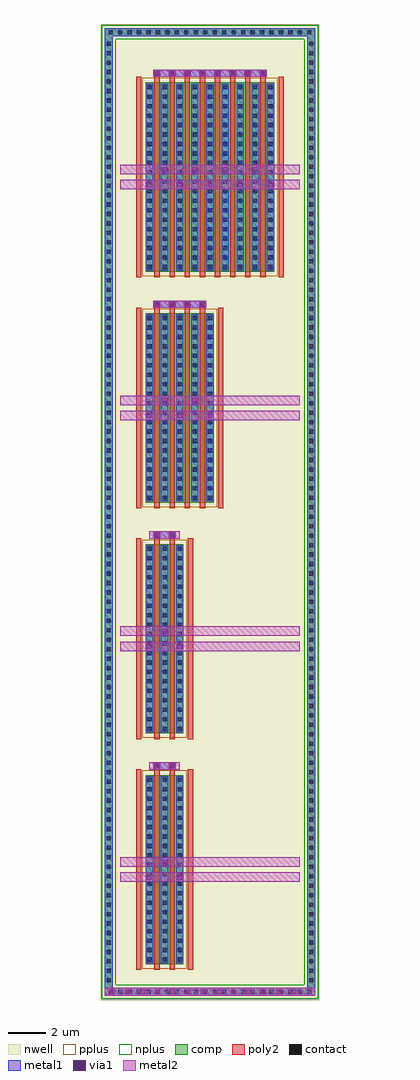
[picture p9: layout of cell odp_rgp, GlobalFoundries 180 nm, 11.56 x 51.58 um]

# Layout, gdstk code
import gdstk
lib = gdstk.Library(unit=1e-6, precision=1e-09)
def R(c, l, rs):  # rectangles x0, y0, x1, y1
    for r in rs: c.add(gdstk.rectangle(r[:2], r[2:], *l))
def A(c, l, x, y, w, h, nx, ny, dx, dy):  # array of equal rectangles
    R(c, l, [(x+i*dx, y+j*dy, x+i*dx+w, y+j*dy+h) for i in range(nx) for j in range(ny)])
nwell = (21, 0)
comp = (22, 0)
poly2 = (30, 0)
pplus = (31, 0)
nplus = (32, 0)
contact = (33, 0)
metal1 = (34, 0)
via1 = (35, 0)
metal2 = (36, 0)

odp_rgp = lib.new_cell('odp_rgp')
R(odp_rgp, nwell, [(-0.22,-0.22,11.34,51.36)])
R(odp_rgp, comp, [(0,0,11.12,0.42), (0,0,0.42,51.14), (10.7,0,11.12,51.14), (2.17,1.67,4.15,11.67), (2.17,13.87,4.15,23.87), (2.17,26.07,5.75,36.07), (2.17,38.27,8.95,48.27), (0,50.72,11.12,51.14)])
A(odp_rgp, poly2, 1.65, 1.37, 0.28, 10.6, 1, 4, 0, 12.2)
A(odp_rgp, poly2, 2.62, 25.77, 0.28, 10.96, 4, 1, 0.8, 0)
A(odp_rgp, poly2, 2.58, 36.37, 0.36, 0.36, 4, 1, 0.8, 0)
A(odp_rgp, poly2, 2.62, 37.97, 0.28, 10.96, 8, 1, 0.8, 0)
A(odp_rgp, poly2, 2.58, 48.57, 0.36, 0.36, 8, 1, 0.8, 0)
R(odp_rgp, poly2, [(2.62,1.37,2.9,12.33), (3.42,1.37,3.7,12.33), (4.39,1.37,4.67,11.97), (2.58,11.97,2.94,12.33), (3.38,11.97,3.74,12.33), (2.62,13.57,2.9,24.53), (3.42,13.57,3.7,24.53), (4.39,13.57,4.67,24.17), (2.58,24.17,2.94,24.53), (3.38,24.17,3.74,24.53), (5.99,25.77,6.27,36.37), (9.19,37.97,9.47,48.57)])
R(odp_rgp, pplus, [(1.99,1.43,4.33,11.91), (1.99,13.63,4.33,24.11), (1.99,25.83,5.93,36.31), (1.99,38.03,9.13,48.51)])
R(odp_rgp, nplus, [(-0.16,-0.16,11.28,0.58), (-0.16,-0.16,0.58,51.3), (10.54,-0.16,11.28,51.3), (-0.16,50.56,11.28,51.3)])
A(odp_rgp, contact, 0.2, 0.1, 0.22, 0.22, 22, 2, 0.5, 50.72)
A(odp_rgp, contact, 0.1, 0.71, 0.22, 0.22, 1, 100, 0, 0.5)
A(odp_rgp, contact, 10.8, 0.71, 0.22, 0.22, 1, 100, 0, 0.5)
A(odp_rgp, contact, 2.25, 1.81, 0.22, 0.22, 3, 20, 0.8, 0.5)
A(odp_rgp, contact, 2.25, 14.01, 0.22, 0.22, 3, 20, 0.8, 0.5)
A(odp_rgp, contact, 2.25, 26.21, 0.22, 0.22, 5, 20, 0.8, 0.5)
A(odp_rgp, contact, 2.65, 36.44, 0.22, 0.22, 4, 1, 0.8, 0)
A(odp_rgp, contact, 2.25, 38.41, 0.22, 0.22, 9, 20, 0.8, 0.5)
A(odp_rgp, contact, 2.65, 48.64, 0.22, 0.22, 8, 1, 0.8, 0)
R(odp_rgp, contact, [(2.65,12.04,2.87,12.26), (3.45,12.04,3.67,12.26), (2.65,24.24,2.87,24.46), (3.45,24.24,3.67,24.46)])
A(odp_rgp, metal1, 2.17, 1.73, 0.38, 9.88, 3, 2, 0.8, 12.2)
A(odp_rgp, metal1, 2.17, 26.13, 0.38, 9.88, 5, 1, 0.8, 0)
A(odp_rgp, metal1, 2.17, 38.33, 0.38, 9.88, 9, 1, 0.8, 0)
R(odp_rgp, metal1, [(0,0,11.12,0.42), (0,0,0.42,51.14), (10.7,0,11.12,51.14), (2.57,11.96,3.75,12.34), (2.57,24.16,3.75,24.54), (2.57,36.36,5.35,36.74), (2.57,48.56,8.55,48.94), (0,50.72,11.12,51.14)])
A(odp_rgp, via1, 0.27, 0.08, 0.26, 0.26, 13, 1, 0.8, 0)
A(odp_rgp, via1, 3.03, 6.94, 0.26, 0.26, 1, 3, 0, 12.2)
A(odp_rgp, via1, 2.23, 30.54, 0.26, 0.26, 3, 1, 1.6, 0)
A(odp_rgp, via1, 2.63, 36.42, 0.26, 0.26, 4, 1, 0.8, 0)
A(odp_rgp, via1, 2.23, 42.74, 0.26, 0.26, 5, 1, 1.6, 0)
A(odp_rgp, via1, 3.03, 43.54, 0.26, 0.26, 4, 1, 1.6, 0)
A(odp_rgp, via1, 2.63, 48.62, 0.26, 0.26, 8, 1, 0.8, 0)
R(odp_rgp, via1, [(2.23,6.14,2.49,6.4), (3.83,6.14,4.09,6.4), (2.63,12.02,2.89,12.28), (3.43,12.02,3.69,12.28), (2.23,18.34,2.49,18.6), (3.83,18.34,4.09,18.6), (2.63,24.22,2.89,24.48), (3.43,24.22,3.69,24.48), (4.63,31.34,4.89,31.6)])
R(odp_rgp, metal2, [(0,0,11.12,0.42), (0.82,6.02,10.3,6.52), (0.82,6.82,10.3,7.32), (2.36,11.96,3.96,12.34), (0.82,18.22,10.3,18.72), (0.82,19.02,10.3,19.52), (2.36,24.16,3.96,24.54), (0.82,30.42,10.3,30.92), (0.82,31.22,10.3,31.72), (2.57,36.36,5.35,36.74), (0.82,42.62,10.3,43.12), (0.82,43.42,10.3,43.92), (2.57,48.56,8.55,48.94)])

lib.write_gds('odp_rgp.gds')
